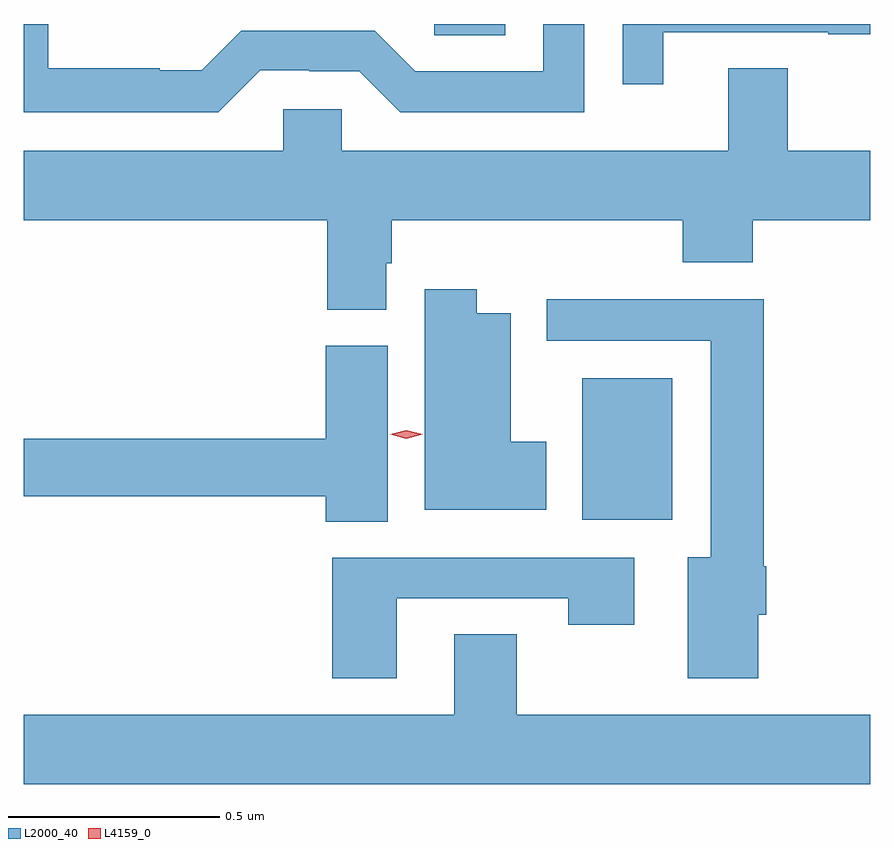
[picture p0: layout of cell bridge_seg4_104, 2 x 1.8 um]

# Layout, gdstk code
import gdstk
lib = gdstk.Library(unit=1e-6, precision=1e-09)
def R(c, l, rs):  # rectangles x0, y0, x1, y1
    for r in rs: c.add(gdstk.rectangle(r[:2], r[2:], *l))
def P(c, l, *ps):  # polygons
    for p in ps: c.add(gdstk.Polygon(p, *l))
L2000_40 = (2000, 40)
L4159_0 = (4159, 0)

bridge_seg4_104 = lib.new_cell('bridge_seg4_104')
R(bridge_seg4_104, L2000_40, [(627.938,772.136,628.15,772.471), (627.588,773.281,627.756,773.308)])
P(bridge_seg4_104, L2000_40, [(628.129,773.289),(628.519,773.289),(628.519,773.284),(628.618,773.284),(628.618,773.308),(628.033,773.308),(628.033,773.166),(628.129,773.166)],
  [(627.177,773.199),(627.293,773.199),(627.293,773.196),(627.411,773.196),(627.507,773.1),(627.942,773.1),(627.942,773.308),(627.846,773.308),(627.846,773.196),(627.543,773.196),(627.447,773.292),(627.132,773.292),(627.039,773.199),(626.939,773.199),(626.939,773.203),(626.676,773.203),(626.676,773.308),(626.618,773.308),(626.618,773.099),(627.077,773.099)],
  [(627.335,772.633),(627.475,772.633),(627.475,772.743),(627.488,772.743),(627.488,772.844),(628.175,772.844),(628.175,772.745),(628.34,772.745),(628.34,772.844),(628.618,772.844),(628.618,773.008),(628.423,773.008),(628.423,773.203),(628.283,773.203),(628.283,773.008),(627.369,773.008),(627.369,773.106),(627.231,773.106),(627.231,773.008),(626.618,773.008),(626.618,772.844),(627.335,772.844)],
  [(627.853,772.321),(627.769,772.321),(627.769,772.624),(627.688,772.624),(627.688,772.681),(627.566,772.681),(627.566,772.16),(627.853,772.16)],
  [(628.354,771.912),(628.372,771.912),(628.372,772.026),(628.367,772.026),(628.367,772.658),(627.854,772.658),(627.854,772.56),(628.241,772.56),(628.241,772.048),(628.187,772.048),(628.187,771.762),(628.354,771.762)],
  [(627.478,772.548),(627.332,772.548),(627.332,772.328),(626.618,772.328),(626.618,772.192),(627.332,772.192),(627.332,772.132),(627.478,772.132)],
  [(627.499,771.951),(627.904,771.951),(627.904,771.888),(628.06,771.888),(628.06,772.047),(627.347,772.047),(627.347,771.762),(627.499,771.762)],
  [(628.618,771.676),(627.783,771.676),(627.783,771.866),(627.635,771.866),(627.635,771.676),(626.618,771.676),(626.618,771.512),(628.618,771.512)])
P(bridge_seg4_104, L4159_0, [(627.522,772.328),(627.484,772.338),(627.484,772.338),(627.484,772.338),(627.522,772.348),(627.561,772.338),(627.561,772.338),(627.561,772.338)])

lib.write_gds('bridge_seg4_104.gds')
